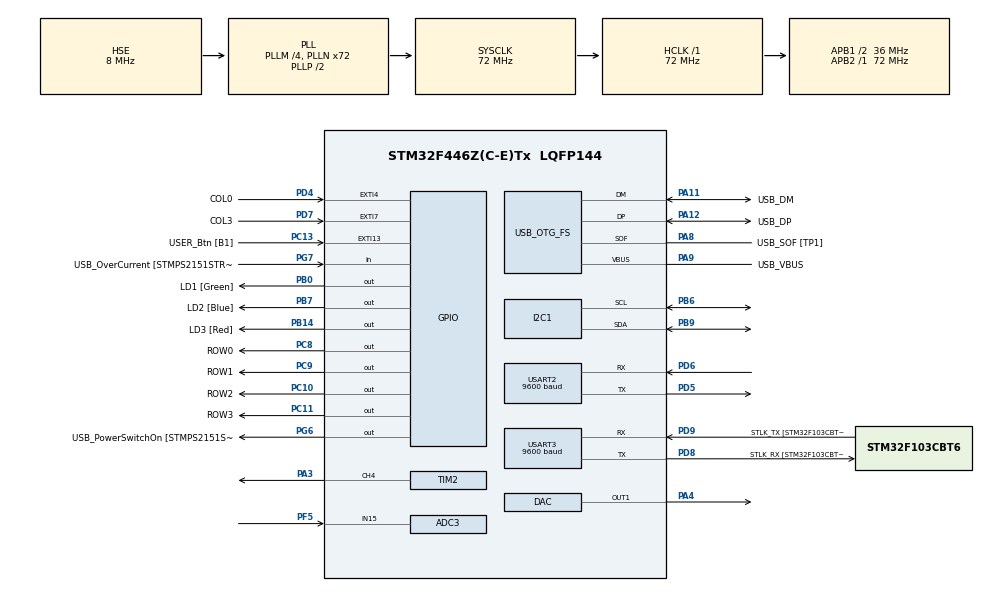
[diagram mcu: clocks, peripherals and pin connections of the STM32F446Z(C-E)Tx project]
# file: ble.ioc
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ADC3.Channel-5\#ChannelRegularConversion=ADC_CHANNEL_15
ADC3.NbrOfConversionFlag=1
ADC3.Rank-5\#ChannelRegularConversion=1
ADC3.SamplingTime-5\#ChannelRegularConversion=ADC_SAMPLETIME_3CYCLES
Mcu.Family=STM32F4
Mcu.Name=STM32F446Z(C-E)Tx
Mcu.Package=LQFP144
NVIC.EXTI15_10_IRQn=true\:0\:0\:false\:false\:true\:true\:true\:true
NVIC.EXTI4_IRQn=true\:0\:0\:false\:false\:true\:true\:true\:true
NVIC.EXTI9_5_IRQn=true\:0\:0\:false\:false\:true\:true\:true\:true
NVIC.PriorityGroup=NVIC_PRIORITYGROUP_4
NVIC.USART2_IRQn=true\:0\:0\:false\:false\:true\:true\:true\:true
PA10.GPIO_Label=USB_ID
PA10.Signal=USB_OTG_FS_ID
PA11.GPIO_Label=USB_DM
PA11.Mode=Device_Only
PA11.Signal=USB_OTG_FS_DM
PA12.GPIO_Label=USB_DP
PA12.Mode=Device_Only
PA12.Signal=USB_OTG_FS_DP
PA13.GPIO_Label=TMS
PA13.Mode=Serial_Wire
PA13.Signal=SYS_JTMS-SWDIO
PA14.GPIO_Label=TCK
PA14.Mode=Serial_Wire
PA14.Signal=SYS_JTCK-SWCLK
PA3.Signal=S_TIM2_CH4
PA4.Signal=COMP_DAC1_group
PA8.GPIO_Label=USB_SOF [TP1]
PA8.Mode=Activate_SOF_FS
PA8.Signal=USB_OTG_FS_SOF
PA9.GPIO_Label=USB_VBUS
PA9.Mode=Activate_VBUS
PA9.Signal=USB_OTG_FS_VBUS
PB0.GPIO_Label=LD1 [Green]
PB0.Signal=GPIO_Output
PB14.GPIO_Label=LD3 [Red]
PB14.Signal=GPIO_Output
PB6.Mode=I2C
PB6.Signal=I2C1_SCL
PB7.GPIO_Label=LD2 [Blue]
PB7.Signal=GPIO_Output
PB9.Mode=I2C
PB9.Signal=I2C1_SDA
PC10.GPIO_Label=ROW2
PC10.Signal=GPIO_Output
PC11.GPIO_Label=ROW3
PC11.Signal=GPIO_Output
PC13.GPIO_Label=USER_Btn [B1]
PC13.Signal=GPXTI13
PC14-OSC32_IN.Mode=LSE-External-Oscillator
PC14-OSC32_IN.Signal=RCC_OSC32_IN
PC15-OSC32_OUT.Mode=LSE-External-Oscillator
PC15-OSC32_OUT.Signal=RCC_OSC32_OUT
PC8.GPIO_Label=ROW0
PC8.Signal=GPIO_Output
PC9.GPIO_Label=ROW1
PC9.Signal=GPIO_Output
PD4.GPIO_Label=COL0
PD4.GPIO_PuPd=GPIO_PULLDOWN
PD4.Signal=GPXTI4
PD5.Mode=Asynchronous
PD5.Signal=USART2_TX
PD6.Mode=Asynchronous
PD6.Signal=USART2_RX
PD7.GPIO_Label=COL3
PD7.GPIO_PuPd=GPIO_PULLDOWN
PD7.Signal=GPXTI7
PD8.GPIO_Label=STLK_RX [STM32F103CBT6_PA3]
PD8.Mode=Asynchronous
PD8.Signal=USART3_TX
PD9.GPIO_Label=STLK_TX [STM32F103CBT6_PA2]
PD9.Mode=Asynchronous
PD9.Signal=USART3_RX
PF5.Mode=IN15
PF5.Signal=ADC3_IN15
PG6.GPIO_Label=USB_PowerSwitchOn [STMPS2151STR_EN]
PG6.Signal=GPIO_Output
PG7.GPIO_Label=USB_OverCurrent [STMPS2151STR_FAULT]
PG7.Signal=GPIO_Input
PH0-OSC_IN.GPIO_Label=MCO [STM32F103CBT6_PA8]
PH0-OSC_IN.Mode=HSE-External-Clock-Source
PH0-OSC_IN.Signal=RCC_OSC_IN
PH1-OSC_OUT.Mode=HSE-External-Clock-Source
PH1-OSC_OUT.Signal=RCC_OSC_OUT
ProjectManager.HeapSize=0x200
ProjectManager.StackSize=0x400
ProjectManager.TargetToolchain=STM32CubeIDE
RCC.48MHZClocksFreq_Value=24000000
RCC.AHBFreq_Value=72000000
RCC.APB1CLKDivider=RCC_HCLK_DIV2
RCC.APB1Freq_Value=36000000
RCC.APB1TimFreq_Value=72000000
RCC.APB2Freq_Value=72000000
RCC.APB2TimFreq_Value=72000000
RCC.CortexFreq_Value=72000000
RCC.HCLKFreq_Value=72000000
RCC.HSE_VALUE=8000000
RCC.HSI_VALUE=16000000
RCC.PLLM=4
RCC.PLLMUL=RCC_PLL_MUL9
RCC.PLLN=72
RCC.PLLQ=3
RCC.PRESCALERUSB=RCC_USBCLKSOURCE_PLL_DIV1_5
RCC.SYSCLKFreq_VALUE=72000000
RCC.SYSCLKSource=RCC_SYSCLKSOURCE_PLLCLK
RCC.SYSCLKSourceVirtual=RCC_SYSCLKSOURCE_PLLCLK
RCC.USBFreq_Value=48000000
RCC.VCOOutputFreq_Value=144000000
SH.COMP_DAC1_group.0=DAC_OUT1,DAC_OUT1
SH.S_TIM2_CH4.0=TIM2_CH4,PWM Generation4 CH4
TIM2.Channel-PWM\ Generation4\ CH4=TIM_CHANNEL_4
TIM2.Period=1000-1
TIM2.Prescaler=900-1
USART2.BaudRate=9600
USART2.VirtualMode=VM_ASYNC
USART3.BaudRate=9600
USART3.VirtualMode=VM_ASYNC
USB_OTG_FS.VirtualMode=Device_Only
VP_TIM2_VS_ClockSourceINT.Mode=Internal
board=NUCLEO-F446ZE

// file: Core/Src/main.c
/* USER CODE BEGIN Header */
/**
  ******************************************************************************
  * @file           : main.c
  * @brief          : Main program body (Interrupt-based UART for HC-05)
  ******************************************************************************
  */
/* USER CODE END Header */
#include "main.h"
#include <stdbool.h>
#include <stdlib.h>

ADC_HandleTypeDef hadc3;

DAC_HandleTypeDef hdac;

I2C_HandleTypeDef hi2c1;

TIM_HandleTypeDef htim2;

UART_HandleTypeDef huart2;
UART_HandleTypeDef huart3;

PCD_HandleTypeDef hpcd_USB_OTG_FS;

/* USER CODE BEGIN PV */
/* Buffer for UART interrupt */
#define RX_BUFFER_SIZE 100
char rx_buffer[RX_BUFFER_SIZE];  // Buffer to store received data
uint8_t rx_index = 0;
volatile char received_buffer[32] = {0};  // Buffer for UART data (4 chars + null)// Buffer index             // Byte received from UART
volatile bool servo_active = true; // Flag to control servo movement
volatile char* received_byte = 0;    // Variable to store received character
volatile int motor_angle = 0;
volatile int motor = 0;

/* USER CODE END PV */

void SystemClock_Config(void);
static void MX_GPIO_Init(void);
static void MX_ADC3_Init(void);
static void MX_USART3_UART_Init(void);
static void MX_USB_OTG_FS_PCD_Init(void);
static void MX_DAC_Init(void);
static void MX_USART2_UART_Init(void);
static void MX_TIM2_Init(void);
static void MX_I2C1_Init(void);

/* USER CODE BEGIN 0 */
/* USER CODE BEGIN 0 */
#define PCA9685_ADDRESS 0x80
// Datasheet link --> https://cdn-shop.adafruit.com/datasheets/PCA9685.pdf
#define PCA9685_MODE1         0x0         // as in the datasheet page no 10/52
#define PCA9685_PRE_SCALE     0xFE        // as in the datasheet page no 13/52
#define PCA9685_LED0_ON_L     0x6         // as in the datasheet page no 10/52
#define PCA9685_MODE1_SLEEP_BIT      4    // as in the datasheet page no 14/52
#define PCA9685_MODE1_AI_BIT         5    // as in the datasheet page no 14/52
#define PCA9685_MODE1_RESTART_BIT    7    // as in the datasheet page no 14/52

void PCA9685_SetBit(uint8_t Register, uint8_t Bit, uint8_t Value)
{
  uint8_t readValue;
  // Read all 8 bits and set only one bit to 0/1 and write all 8 bits back
  HAL_I2C_Mem_Read(&hi2c1, PCA9685_ADDRESS, Register, 1, &readValue, 1, 10);
  if (Value == 0) readValue &= ~(1 << Bit);
  else readValue |= (1 << Bit);
  HAL_I2C_Mem_Write(&hi2c1, PCA9685_ADDRESS, Register, 1, &readValue, 1, 10);
  HAL_Delay(1);
}

void PCA9685_SetPWMFrequency(uint16_t frequency)
{
  uint8_t prescale;
  if(frequency >= 1526) prescale = 0x03;
  else if(frequency <= 24) prescale = 0xFF;
  //  internal 25 MHz oscillator as in the datasheet page no 1/52
  else prescale = 25000000 / (4096 * frequency);
  // prescale changes 3 to 255 for 1526Hz to 24Hz as in the datasheet page no 1/52
  PCA9685_SetBit(PCA9685_MODE1, PCA9685_MODE1_SLEEP_BIT, 1);
  HAL_I2C_Mem_Write(&hi2c1, PCA9685_ADDRESS, PCA9685_PRE_SCALE, 1, &prescale, 1, 10);
  PCA9685_SetBit(PCA9685_MODE1, PCA9685_MODE1_SLEEP_BIT, 0);
  PCA9685_SetBit(PCA9685_MODE1, PCA9685_MODE1_RESTART_BIT, 1);
}

void PCA9685_Init(uint16_t frequency)
{
  PCA9685_SetPWMFrequency(frequency); // 50 Hz for servo
  PCA9685_SetBit(PCA9685_MODE1, PCA9685_MODE1_AI_BIT, 1);
}

void PCA9685_SetPWM(uint8_t Channel, uint16_t OnTime, uint16_t OffTime)
{
  uint8_t registerAddress;
  uint8_t pwm[4];
  registerAddress = PCA9685_LED0_ON_L + (4 * Channel);
  // See example 1 in the datasheet page no 18/52
  pwm[0] = OnTime & 0xFF;
  pwm[1] = OnTime>>8;
  pwm[2] = OffTime & 0xFF;
  pwm[3] = OffTime>>8;
  HAL_I2C_Mem_Write(&hi2c1, PCA9685_ADDRESS, registerAddress, 1, pwm, 4, 10);
}

void PCA9685_SetServoAngle(uint8_t Channel, float Angle)
{
  float Value;
  // 50 Hz servo then 4095 Value --> 20 milliseconds
  // 0 degree --> 0.5 ms(102.4 Value) and 180 degree --> 2.5 ms(511.9 Value)
  Value = (Angle * (511.9 - 102.4) / 180.0) + 102.4;
  PCA9685_SetPWM(Channel, 0, (uint16_t)Value);
}
void I2C_Scan()
{
    char msg[50];
    for (uint8_t addr = 1; addr < 127; addr++)
    {
        if (HAL_I2C_IsDeviceReady(&hi2c1, (addr << 1), 3, 100) == HAL_OK)
        {
            sprintf(msg, "Device found at 0x%X\r\n", addr);
            print_msg(msg);
        }
    }
}

/* USER CODE END 0 */
/* Main function */
int main(void)
{
    /* Initialize system */
    HAL_Init();
    SystemClock_Config();

    /* Initialize peripherals */
    MX_GPIO_Init();
    MX_ADC3_Init();
    MX_USART3_UART_Init();
    MX_USART2_UART_Init();  // Initialize HC-05 UART2
    MX_USB_OTG_FS_PCD_Init();
    MX_DAC_Init();
    MX_TIM2_Init();
    MX_I2C1_Init();

    /* Send initial AT command to HC-05 */
    char message[100];
    char at_command[] = "AT\r\n";
    //HAL_UART_Transmit(&huart2, (uint8_t*)at_command, strlen(at_command), 100);
    HAL_Delay(1000);  // Wait for response

    //sprintf(message, "Waiting for data from HC-05...\r\n");
    //print_msg(message);

    /* Start PWM for servo */
    HAL_TIM_PWM_Start(&htim2, TIM_CHANNEL_4);

    /* Enable UART receive interrupt */
    HAL_UART_Receive_IT(&huart2, (uint8_t*)received_buffer, 4);
    /*Init Serv driver at 50Mhz*/
    PCA9685_Init(50);

    HAL_StatusTypeDef res;
    uint8_t i2c_address = PCA9685_ADDRESS; // Use 0x80 >> 1 = 0x40
    res = HAL_I2C_IsDeviceReady(&hi2c1, i2c_address, 3, 100);
    if (res == HAL_OK)
    {
        print_msg("PCA9685 detected!\r\n");
    }
    else
    {
        print_msg("PCA9685 NOT detected!\r\n");
    }
    I2C_Scan();
    /* Main loop */
    while (1)
    {

    	if (servo_active)  // If Bluetooth sent '1', move the servos
    	        {

    	            /* Servo sweep */
    	            PCA9685_SetServoAngle(motor, motor_angle);

    	            HAL_Delay(1000);
    	        }

        /* Toggle LED for debugging */
        HAL_GPIO_TogglePin(LD2_GPIO_Port, LD2_Pin);
        HAL_Delay(500);
    }
}

volatile int last_three_values[3] = {0}; // Array to store last 3 values
volatile uint8_t current_index = 0;      // Index for rolling buffer

void HAL_UART_RxCpltCallback(UART_HandleTypeDef *huart) {
    if (huart == &huart2) {
        //received_buffer[4] = '\0'; // Null-terminate string

        // Debug print
        print_msg("Received: ");
        print_msg(received_buffer);
        print_msg("\r\n");

        // Convert received string to integer
        int value = atoi(received_buffer);

        // Print received value
        char angle_msg[32];

        motor = value / 1000;   // Get the first digit
        motor_angle = value % 1000; // Get last three digits
        sprintf(angle_msg, "Angle: %d %d\r\n", motor, motor_angle);
        print_msg(angle_msg);

        // Clear any possible UART errors
//        if (__HAL_UART_GET_FLAG(&huart2, UART_FLAG_ORE)) __HAL_UART_CLEAR_FLAG(&huart2, UART_FLAG_ORE);
        if (__HAL_UART_GET_FLAG(&huart2, UART_FLAG_FE)) __HAL_UART_CLEAR_FLAG(&huart2, UART_FLAG_FE);
        if (__HAL_UART_GET_FLAG(&huart2, UART_FLAG_NE)) __HAL_UART_CLEAR_FLAG(&huart2, UART_FLAG_NE);
        if (__HAL_UART_GET_FLAG(&huart2, UART_FLAG_PE)) __HAL_UART_CLEAR_FLAG(&huart2, UART_FLAG_PE);

        if (__HAL_UART_GET_FLAG(&huart2, UART_FLAG_ORE)) {
            __HAL_UART_CLEAR_OREFLAG(&huart2);
            print_msg("Overrun Error Cleared\r\n");
        }

        // Blink LED to check if callback is still running
        HAL_GPIO_TogglePin(LD2_GPIO_Port, LD2_Pin);

        // Clear buffer
        memset(received_buffer, 0, sizeof(received_buffer));

        // Restart UART reception
        HAL_StatusTypeDef status = HAL_UART_Receive_IT(&huart2, (uint8_t*)received_buffer, 4);
        if (status != HAL_OK) {
            print_msg("UART RX restart failed!\r\n");
        }
    }
}

void SystemClock_Config(void)
{
  RCC_OscInitTypeDef RCC_OscInitStruct = {0};
  RCC_ClkInitTypeDef RCC_ClkInitStruct = {0};

  /** Configure the main internal regulator output voltage
  */
  __HAL_RCC_PWR_CLK_ENABLE();
  __HAL_PWR_VOLTAGESCALING_CONFIG(PWR_REGULATOR_VOLTAGE_SCALE3);

  /** Initializes the RCC Oscillators according to the specified parameters
  * in the RCC_OscInitTypeDef structure.
  */
  RCC_OscInitStruct.OscillatorType = RCC_OSCILLATORTYPE_HSE;
  RCC_OscInitStruct.HSEState = RCC_HSE_BYPASS;
  RCC_OscInitStruct.PLL.PLLState = RCC_PLL_ON;
  RCC_OscInitStruct.PLL.PLLSource = RCC_PLLSOURCE_HSE;
  RCC_OscInitStruct.PLL.PLLM = 4;
  RCC_OscInitStruct.PLL.PLLN = 72;
  RCC_OscInitStruct.PLL.PLLP = RCC_PLLP_DIV2;
  RCC_OscInitStruct.PLL.PLLQ = 3;
  RCC_OscInitStruct.PLL.PLLR = 2;
  if (HAL_RCC_OscConfig(&RCC_OscInitStruct) != HAL_OK)
  {
    Error_Handler();
  }

  /** Initializes the CPU, AHB and APB buses clocks
  */
  RCC_ClkInitStruct.ClockType = RCC_CLOCKTYPE_HCLK|RCC_CLOCKTYPE_SYSCLK
                              |RCC_CLOCKTYPE_PCLK1|RCC_CLOCKTYPE_PCLK2;
  RCC_ClkInitStruct.SYSCLKSource = RCC_SYSCLKSOURCE_PLLCLK;
  RCC_ClkInitStruct.AHBCLKDivider = RCC_SYSCLK_DIV1;
  RCC_ClkInitStruct.APB1CLKDivider = RCC_HCLK_DIV2;
  RCC_ClkInitStruct.APB2CLKDivider = RCC_HCLK_DIV1;

  if (HAL_RCC_ClockConfig(&RCC_ClkInitStruct, FLASH_LATENCY_2) != HAL_OK)
  {
    Error_Handler();
  }
}

static void MX_ADC3_Init(void)
{

  ADC_ChannelConfTypeDef sConfig = {0};

  /** Configure the global features of the ADC (Clock, Resolution, Data Alignment and number of conversion)
  */
  hadc3.Instance = ADC3;
  hadc3.Init.ClockPrescaler = ADC_CLOCK_SYNC_PCLK_DIV2;
  hadc3.Init.Resolution = ADC_RESOLUTION_12B;
  hadc3.Init.ScanConvMode = DISABLE;
  hadc3.Init.ContinuousConvMode = DISABLE;
  hadc3.Init.DiscontinuousConvMode = DISABLE;
  hadc3.Init.ExternalTrigConvEdge = ADC_EXTERNALTRIGCONVEDGE_NONE;
  hadc3.Init.ExternalTrigConv = ADC_SOFTWARE_START;
  hadc3.Init.DataAlign = ADC_DATAALIGN_RIGHT;
  hadc3.Init.NbrOfConversion = 1;
  hadc3.Init.DMAContinuousRequests = DISABLE;
  hadc3.Init.EOCSelection = ADC_EOC_SINGLE_CONV;
  if (HAL_ADC_Init(&hadc3) != HAL_OK)
  {
    Error_Handler();
  }

  /** Configure for the selected ADC regular channel its corresponding rank in the sequencer and its sample time.
  */
  sConfig.Channel = ADC_CHANNEL_15;
  sConfig.Rank = 1;
  sConfig.SamplingTime = ADC_SAMPLETIME_3CYCLES;
  if (HAL_ADC_ConfigChannel(&hadc3, &sConfig) != HAL_OK)
  {
    Error_Handler();
  }

}

static void MX_DAC_Init(void)
{

  DAC_ChannelConfTypeDef sConfig = {0};

  /** DAC Initialization
  */
  hdac.Instance = DAC;
  if (HAL_DAC_Init(&hdac) != HAL_OK)
  {
    Error_Handler();
  }

  /** DAC channel OUT1 config
  */
  sConfig.DAC_Trigger = DAC_TRIGGER_NONE;
  sConfig.DAC_OutputBuffer = DAC_OUTPUTBUFFER_ENABLE;
  if (HAL_DAC_ConfigChannel(&hdac, &sConfig, DAC_CHANNEL_1) != HAL_OK)
  {
    Error_Handler();
  }

}

static void MX_I2C1_Init(void)
{

  hi2c1.Instance = I2C1;
  hi2c1.Init.ClockSpeed = 100000;
  hi2c1.Init.DutyCycle = I2C_DUTYCYCLE_2;
  hi2c1.Init.OwnAddress1 = 0;
  hi2c1.Init.AddressingMode = I2C_ADDRESSINGMODE_7BIT;
  hi2c1.Init.DualAddressMode = I2C_DUALADDRESS_DISABLE;
  hi2c1.Init.OwnAddress2 = 0;
  hi2c1.Init.GeneralCallMode = I2C_GENERALCALL_DISABLE;
  hi2c1.Init.NoStretchMode = I2C_NOSTRETCH_DISABLE;
  if (HAL_I2C_Init(&hi2c1) != HAL_OK)
  {
    Error_Handler();
  }

}

static void MX_TIM2_Init(void)
{

  TIM_ClockConfigTypeDef sClockSourceConfig = {0};
  TIM_MasterConfigTypeDef sMasterConfig = {0};
  TIM_OC_InitTypeDef sConfigOC = {0};

  htim2.Instance = TIM2;
  htim2.Init.Prescaler = 900-1;
  htim2.Init.CounterMode = TIM_COUNTERMODE_UP;
  htim2.Init.Period = 1000-1;
  htim2.Init.ClockDivision = TIM_CLOCKDIVISION_DIV1;
  htim2.Init.AutoReloadPreload = TIM_AUTORELOAD_PRELOAD_DISABLE;
  if (HAL_TIM_Base_Init(&htim2) != HAL_OK)
  {
    Error_Handler();
  }
  sClockSourceConfig.ClockSource = TIM_CLOCKSOURCE_INTERNAL;
  if (HAL_TIM_ConfigClockSource(&htim2, &sClockSourceConfig) != HAL_OK)
  {
    Error_Handler();
  }
  if (HAL_TIM_PWM_Init(&htim2) != HAL_OK)
  {
    Error_Handler();
  }
  sMasterConfig.MasterOutputTrigger = TIM_TRGO_RESET;
  sMasterConfig.MasterSlaveMode = TIM_MASTERSLAVEMODE_DISABLE;
  if (HAL_TIMEx_MasterConfigSynchronization(&htim2, &sMasterConfig) != HAL_OK)
  {
    Error_Handler();
  }
  sConfigOC.OCMode = TIM_OCMODE_PWM1;
  sConfigOC.Pulse = 0;
  sConfigOC.OCPolarity = TIM_OCPOLARITY_HIGH;
  sConfigOC.OCFastMode = TIM_OCFAST_DISABLE;
  if (HAL_TIM_PWM_ConfigChannel(&htim2, &sConfigOC, TIM_CHANNEL_4) != HAL_OK)
  {
    Error_Handler();
  }
  HAL_TIM_MspPostInit(&htim2);

}

static void MX_USART2_UART_Init(void)
{

  huart2.Instance = USART2;
  huart2.Init.BaudRate = 9600;
  huart2.Init.WordLength = UART_WORDLENGTH_8B;
  huart2.Init.StopBits = UART_STOPBITS_1;
  huart2.Init.Parity = UART_PARITY_NONE;
  huart2.Init.Mode = UART_MODE_TX_RX;
  huart2.Init.HwFlowCtl = UART_HWCONTROL_NONE;
  huart2.Init.OverSampling = UART_OVERSAMPLING_16;
  if (HAL_UART_Init(&huart2) != HAL_OK)
  {
    Error_Handler();
  }

}

static void MX_USART3_UART_Init(void)
{

  huart3.Instance = USART3;
  huart3.Init.BaudRate = 9600;
  huart3.Init.WordLength = UART_WORDLENGTH_8B;
  huart3.Init.StopBits = UART_STOPBITS_1;
  huart3.Init.Parity = UART_PARITY_NONE;
  huart3.Init.Mode = UART_MODE_TX_RX;
  huart3.Init.HwFlowCtl = UART_HWCONTROL_NONE;
  huart3.Init.OverSampling = UART_OVERSAMPLING_16;
  if (HAL_UART_Init(&huart3) != HAL_OK)
  {
    Error_Handler();
  }

}

static void MX_USB_OTG_FS_PCD_Init(void)
{

  hpcd_USB_OTG_FS.Instance = USB_OTG_FS;
  hpcd_USB_OTG_FS.Init.dev_endpoints = 6;
  hpcd_USB_OTG_FS.Init.speed = PCD_SPEED_FULL;
  hpcd_USB_OTG_FS.Init.dma_enable = DISABLE;
  hpcd_USB_OTG_FS.Init.phy_itface = PCD_PHY_EMBEDDED;
  hpcd_USB_OTG_FS.Init.Sof_enable = ENABLE;
  hpcd_USB_OTG_FS.Init.low_power_enable = DISABLE;
  hpcd_USB_OTG_FS.Init.lpm_enable = DISABLE;
  hpcd_USB_OTG_FS.Init.vbus_sensing_enable = ENABLE;
  hpcd_USB_OTG_FS.Init.use_dedicated_ep1 = DISABLE;
  if (HAL_PCD_Init(&hpcd_USB_OTG_FS) != HAL_OK)
  {
    Error_Handler();
  }

}

static void MX_GPIO_Init(void)
{
  GPIO_InitTypeDef GPIO_InitStruct = {0};

  /* GPIO Ports Clock Enable */
  __HAL_RCC_GPIOC_CLK_ENABLE();
  __HAL_RCC_GPIOF_CLK_ENABLE();
  __HAL_RCC_GPIOH_CLK_ENABLE();
  __HAL_RCC_GPIOA_CLK_ENABLE();
  __HAL_RCC_GPIOB_CLK_ENABLE();
  __HAL_RCC_GPIOD_CLK_ENABLE();
  __HAL_RCC_GPIOG_CLK_ENABLE();

  /*Configure GPIO pin Output Level */
  HAL_GPIO_WritePin(GPIOB, LD1_Pin|LD3_Pin|LD2_Pin, GPIO_PIN_RESET);

  /*Configure GPIO pin Output Level */
  HAL_GPIO_WritePin(USB_PowerSwitchOn_GPIO_Port, USB_PowerSwitchOn_Pin, GPIO_PIN_RESET);

  /*Configure GPIO pin Output Level */
  HAL_GPIO_WritePin(GPIOC, ROW0_Pin|ROW1_Pin|ROW2_Pin|ROW3_Pin, GPIO_PIN_RESET);

  /*Configure GPIO pin : USER_Btn_Pin */
  GPIO_InitStruct.Pin = USER_Btn_Pin;
  GPIO_InitStruct.Mode = GPIO_MODE_IT_RISING;
  GPIO_InitStruct.Pull = GPIO_NOPULL;
  HAL_GPIO_Init(USER_Btn_GPIO_Port, &GPIO_InitStruct);

  /*Configure GPIO pins : LD1_Pin LD3_Pin LD2_Pin */
  GPIO_InitStruct.Pin = LD1_Pin|LD3_Pin|LD2_Pin;
  GPIO_InitStruct.Mode = GPIO_MODE_OUTPUT_PP;
  GPIO_InitStruct.Pull = GPIO_NOPULL;
  GPIO_InitStruct.Speed = GPIO_SPEED_FREQ_LOW;
  HAL_GPIO_Init(GPIOB, &GPIO_InitStruct);

  /*Configure GPIO pin : USB_PowerSwitchOn_Pin */
  GPIO_InitStruct.Pin = USB_PowerSwitchOn_Pin;
  GPIO_InitStruct.Mode = GPIO_MODE_OUTPUT_PP;
  GPIO_InitStruct.Pull = GPIO_NOPULL;
  GPIO_InitStruct.Speed = GPIO_SPEED_FREQ_LOW;
  HAL_GPIO_Init(USB_PowerSwitchOn_GPIO_Port, &GPIO_InitStruct);

  /*Configure GPIO pin : USB_OverCurrent_Pin */
  GPIO_InitStruct.Pin = USB_OverCurrent_Pin;
  GPIO_InitStruct.Mode = GPIO_MODE_INPUT;
  GPIO_InitStruct.Pull = GPIO_NOPULL;
  HAL_GPIO_Init(USB_OverCurrent_GPIO_Port, &GPIO_InitStruct);

  /*Configure GPIO pins : ROW0_Pin ROW1_Pin ROW2_Pin ROW3_Pin */
  GPIO_InitStruct.Pin = ROW0_Pin|ROW1_Pin|ROW2_Pin|ROW3_Pin;
  GPIO_InitStruct.Mode = GPIO_MODE_OUTPUT_PP;
  GPIO_InitStruct.Pull = GPIO_NOPULL;
  GPIO_InitStruct.Speed = GPIO_SPEED_FREQ_LOW;
  HAL_GPIO_Init(GPIOC, &GPIO_InitStruct);

  /*Configure GPIO pins : COL0_Pin COL3_Pin */
  GPIO_InitStruct.Pin = COL0_Pin|COL3_Pin;
  GPIO_InitStruct.Mode = GPIO_MODE_IT_RISING;
  GPIO_InitStruct.Pull = GPIO_PULLDOWN;
  HAL_GPIO_Init(GPIOD, &GPIO_InitStruct);

  /* EXTI interrupt init*/
  HAL_NVIC_SetPriority(EXTI4_IRQn, 0, 0);
  HAL_NVIC_EnableIRQ(EXTI4_IRQn);

  HAL_NVIC_SetPriority(EXTI9_5_IRQn, 0, 0);
  HAL_NVIC_EnableIRQ(EXTI9_5_IRQn);

  HAL_NVIC_SetPriority(EXTI15_10_IRQn, 0, 0);
  HAL_NVIC_EnableIRQ(EXTI15_10_IRQn);

}

/* USER CODE BEGIN 4 */
void print_msg(char * msg) {
  HAL_UART_Transmit(&huart3, (uint8_t *)msg, strlen(msg), 100);
}
/* USER CODE END 4 */

void Error_Handler(void)
{
  __disable_irq();
  while (1)
  {
  }
}
